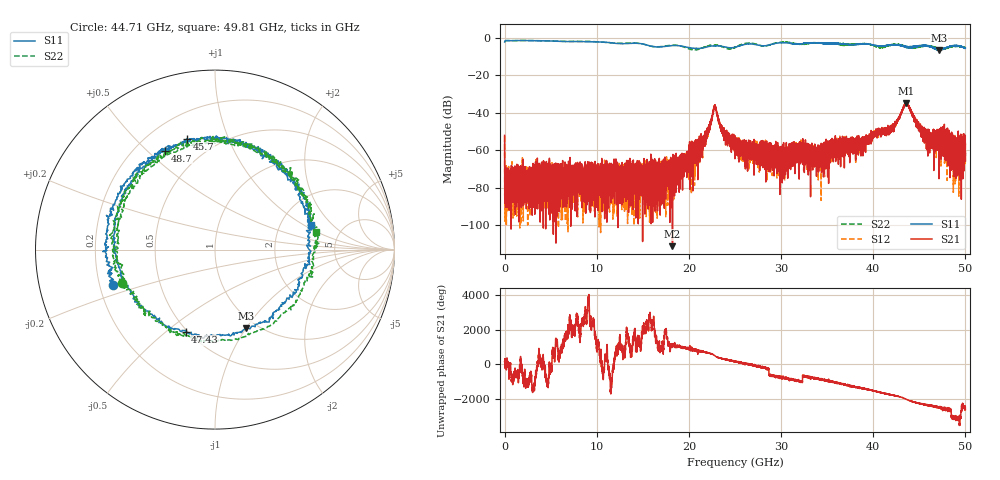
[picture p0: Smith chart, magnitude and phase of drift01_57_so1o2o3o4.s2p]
!Created with skrf (http://scikit-rf.org).
# Hz S RI R 50.0
!freq ReS11 ImS11 ReS21 ImS21 ReS12 ImS12 ReS22 ImS22
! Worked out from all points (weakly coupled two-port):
!   10001 points, 300 kHz to 50 GHz, reference 50 ohm
!   highest |S21| = -34.78 dB at 43.58 GHz (marker M1); lowest = -111.1 dB at 18.22 GHz (marker M2)
!   lowest |S11| = -6.5 dB at 47.15 GHz (marker M3), VSWR 2.78, Z = 44.3 - j49.9 ohm
!   |S11| at or under -10 dB: nowhere
!   |S22| runs from -6.4 to -1.4 dB; largest |S21 - S12| = 0.0042
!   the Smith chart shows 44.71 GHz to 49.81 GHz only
!   S11 on the Smith chart (normalised r, x): 44.71 GHz: 0.26, -0.16; 45.7 GHz: 0.35, +0.72; 47.43 GHz: 0.49, -0.59; 48.7 GHz: 0.32, +0.57; 49.81 GHz: 2.95, +1.18
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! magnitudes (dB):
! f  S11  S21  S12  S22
! 300 kHz  -2.2  -52.0  -52.4  -2.1
! 255.3 MHz  -1.4  -78.4  -76.1  -1.4
! 350.3 MHz  -1.4  -72.9  -73.0  -1.4
! 8.335 GHz  -1.9  -80.7  -75.8  -1.8
! 16.67 GHz  -4.8  -73.7  -75.1  -4.8
! 18.22 GHz  -4.1  -111.1  -66.4  -3.9
! 20.67 GHz  -5.6  -56.8  -64.7  -6.3
! 21.67 GHz  -5.2  -52.6  -53.7  -5.0
! 22.8 GHz  -4.3  -36.5  -35.9  -4.0
! 23.62 GHz  -4.5  -49.9  -50.0  -4.8
! 25 GHz  -5.0  -53.4  -55.8  -5.0
! 30.17 GHz  -2.6  -61.8  -63.3  -2.2
! 33.34 GHz  -2.6  -63.5  -60.2  -2.7
! 41.67 GHz  -3.9  -49.4  -48.4  -4.1
! 43.58 GHz  -4.6  -34.8  -35.4  -4.7
! 44.71 GHz  -4.4  -44.2  -45.2  -5.2
! 45.7 GHz  -3.9  -48.7  -53.8  -4.3
! 47.15 GHz  -6.5  -53.8  -52.3  -5.8
! 47.43 GHz  -6.3  -52.7  -53.0  -5.7
! 48.7 GHz  -4.2  -55.8  -57.9  -4.6
! 49.81 GHz  -5.2  -58.6  -58.5  -4.9
! 50 GHz  -5.5  -61.5  -63.1  -5.2
